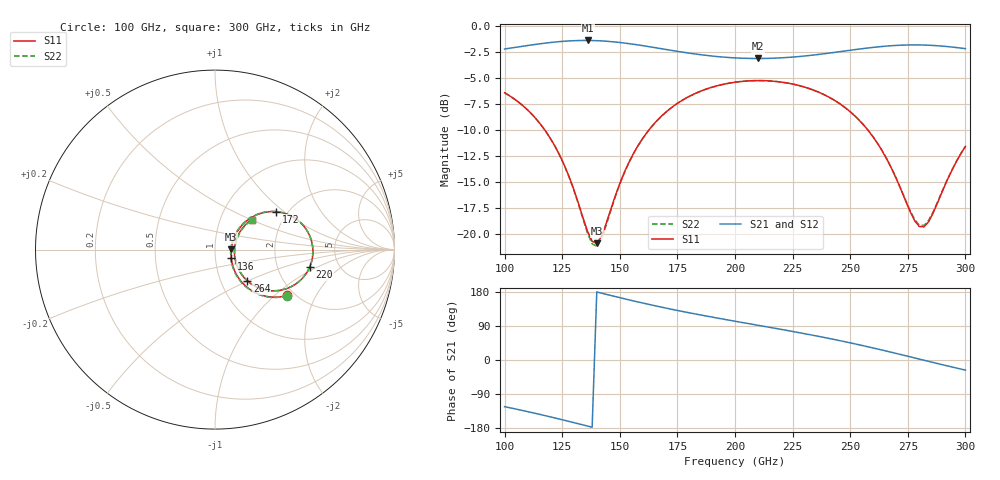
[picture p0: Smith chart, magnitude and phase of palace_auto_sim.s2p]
#  GHZ S DB R 50
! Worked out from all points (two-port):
!   101 points, 100 GHz to 300 GHz, reference 50 ohm
!   highest |S21| = -1.41 dB at 136 GHz (marker M1); lowest = -3.1 dB at 210 GHz (marker M2)
!   |S21| within 3 dB of the highest: start of sweep to end of sweep
!   lowest |S11| = -20.9 dB at 140 GHz (marker M3), VSWR 1.20, Z = 60 + j0.0983 ohm
!   |S11| at or under -10 dB: 117.5 GHz to 162.6 GHz (45.14 GHz wide, 32.2 % of centre); 257.7 GHz to end of sweep
!   |S22| runs from -21.1 to -5.3 dB; largest |S21 - S12| = 9.1e-14
!   S11 on the Smith chart (normalised r, x): 100 GHz: 1.83, -1.21; 136 GHz: 1.19, -0.12; 172 GHz: 1.76, +0.88; 220 GHz: 3.07, -0.83; 264 GHz: 1.33, -0.49; 300 GHz: 1.41, +0.50
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100  -6.43 -32.3  -2.23 -123.2  -2.23 -123.2  -6.43 -32.6
110  -8.08 -41.6  -1.90 -136.2  -1.90 -136.2  -8.08 -42.0
120  -10.84 -49.1  -1.61 -150.3  -1.61 -150.3  -10.86 -49.7
128  -14.47 -49.7  -1.46 -162.2  -1.46 -162.2  -14.52 -50.5
134  -18.38 -38.0  -1.41 -171.3  -1.41 -171.3  -18.52 -39.0
136  -19.71 -28.5  -1.41 -174.4  -1.41 -174.4  -19.90 -29.4
140  -20.86 0.5  -1.44 179.5  -1.44 179.5  -21.12 0.5
142  -20.20 15.1  -1.46 176.5  -1.46 176.5  -20.43 15.5
154  -13.07 42.4  -1.72 158.7  -1.72 158.7  -13.12 42.9
168  -8.68 35.0  -2.20 139.6  -2.20 139.6  -8.70 35.3
172  -7.92 31.7  -2.35 134.5  -2.35 134.5  -7.93 31.9
184  -6.37 21.1  -2.75 120.1  -2.75 120.1  -6.38 21.3
200  -5.42 7.1  -3.08 102.3  -3.08 102.3  -5.42 7.2
210  -5.26 -1.6  -3.14 91.6  -3.14 91.6  -5.26 -1.4
220  -5.40 -10.3  -3.08 80.8  -3.08 80.8  -5.40 -10.1
234  -6.17 -22.6  -2.81 65.1  -2.81 65.1  -6.17 -22.5
250  -8.24 -36.4  -2.35 45.2  -2.35 45.2  -8.24 -36.2
264  -12.04 -44.1  -1.99 26.0  -1.99 26.0  -12.02 -43.8
268  -13.70 -43.3  -1.92 20.2  -1.92 20.2  -13.67 -42.9
278  -18.70 -19.7  -1.84 5.4  -1.84 5.4  -18.58 -19.4
282  -19.28 2.9  -1.85 -0.6  -1.85 -0.6  -19.14 2.8
300  -11.57 39.2  -2.20 -26.6  -2.20 -26.6  -11.55 38.8
